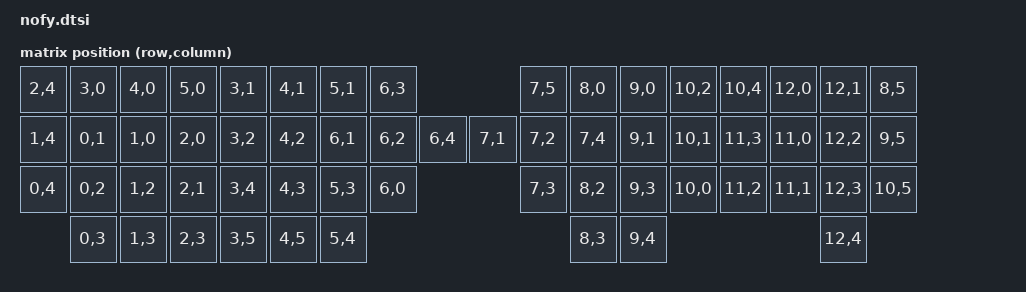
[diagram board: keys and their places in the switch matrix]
#include <dt-bindings/zmk/matrix_transform.h>
#include <dt-bindings/zmk/input_transform.h>
#include <input/processors.dtsi>
#include <physical_layouts.dtsi>

/ {
    chosen {
        zmk,kscan = &kscan_0;
        zmk,physical-layout = &nofy_layout;
    };

    nofy_layout: nofy_layout {
        compatible = "zmk,physical-layout";
        display-name = "Default";
        transform = <&default_transform>;

        keys  //                     w   h    x    y     rot    rx    ry
            = <&key_physical_attrs 100 100  100  100       0     0     0>
            , <&key_physical_attrs 100 100  100  200       0     0     0>
            , <&key_physical_attrs 100 100  100  300       0     0     0>
            , <&key_physical_attrs 100 100    0    0       0     0     0>
            , <&key_physical_attrs 100 100  200  100       0     0     0>
            , <&key_physical_attrs 100 100  200  200       0     0     0>
            , <&key_physical_attrs 100 100  200  300       0     0     0>
            , <&key_physical_attrs 100 100    0  100       0     0     0>
            , <&key_physical_attrs 100 100  300  100       0     0     0>
            , <&key_physical_attrs 100 100  300  200       0     0     0>
            , <&key_physical_attrs 100 100  300  300       0     0     0>
            , <&key_physical_attrs 100 100    0  200       0     0     0>
            , <&key_physical_attrs 100 100  100    0       0     0     0>
            , <&key_physical_attrs 100 100  400    0       0     0     0>
            , <&key_physical_attrs 100 100  400  100       0     0     0>
            , <&key_physical_attrs 100 100  400  200       0     0     0>
            , <&key_physical_attrs 100 100  400  300       0     0     0>
            , <&key_physical_attrs 100 100  200    0       0     0     0>
            , <&key_physical_attrs 100 100  500    0       0     0     0>
            , <&key_physical_attrs 100 100  500  100       0     0     0>
            , <&key_physical_attrs 100 100  500  200       0     0     0>
            , <&key_physical_attrs 100 100  500  300       0     0     0>
            , <&key_physical_attrs 100 100  300    0       0     0     0>
            , <&key_physical_attrs 100 100  600    0       0     0     0>
            , <&key_physical_attrs 100 100  600  100       0     0     0>
            , <&key_physical_attrs 100 100  600  200       0     0     0>
            , <&key_physical_attrs 100 100  600  300       0     0     0>
            , <&key_physical_attrs 100 100  700  100       0     0     0>
            , <&key_physical_attrs 100 100  700  200       0     0     0>
            , <&key_physical_attrs 100 100  700  300       0     0     0>
            , <&key_physical_attrs 100 100 1300    0       0     0     0>
            , <&key_physical_attrs 100 100  800  100       0     0     0>
            , <&key_physical_attrs 100 100  800  200       0     0     0>
            , <&key_physical_attrs 100 100  800  300       0     0     0>
            , <&key_physical_attrs 100 100 1300  100       0     0     0>
            , <&key_physical_attrs 100 100  900    0       0     0     0>
            , <&key_physical_attrs 100 100  900  100       0     0     0>
            , <&key_physical_attrs 100 100  900  200       0     0     0>
            , <&key_physical_attrs 100 100 1300  200       0     0     0>
            , <&key_physical_attrs 100 100 1000    0       0     0     0>
            , <&key_physical_attrs 100 100 1000  100       0     0     0>
            , <&key_physical_attrs 100 100 1000  200       0     0     0>
            , <&key_physical_attrs 100 100  700    0       0     0     0>
            , <&key_physical_attrs 100 100 1100    0       0     0     0>
            , <&key_physical_attrs 100 100 1100  100       0     0     0>
            , <&key_physical_attrs 100 100 1100  200       0     0     0>
            , <&key_physical_attrs 100 100  800    0       0     0     0>
            , <&key_physical_attrs 100 100 1200    0       0     0     0>
            , <&key_physical_attrs 100 100 1200  100       0     0     0>
            , <&key_physical_attrs 100 100 1200  200       0     0     0>
            , <&key_physical_attrs 100 100 1200  300       0     0     0>
            ;
    };

    kscan_0: kscan_0 {
		compatible = "zmk,kscan-gpio-charlieplex";
	};

	default_transform: keymap_transform_0 {
		compatible = "zmk,matrix-transform";
		columns = <6>;
		rows = <13>;

        map = <
		RC(2,4)   RC(3,0)   RC(4,0)   RC(5,0)   RC(3,1)   RC(4,1)   RC(5,1)             RC(6,3)                              RC(7,5)             RC(8,0)   RC(9,0)   RC(10,2)   RC(10,4)  RC(12,0)  RC(12,1)  RC(8,5)
		RC(1,4)   RC(0,1)   RC(1,0)   RC(2,0)   RC(3,2)   RC(4,2)             RC(6,1)   RC(6,2)   RC(6,4)          RC(7,1)   RC(7,2)   RC(7,4)             RC(9,1)   RC(10,1)   RC(11,3)  RC(11,0)  RC(12,2)  RC(9,5)
		RC(0,4)   RC(0,2)   RC(1,2)   RC(2,1)   RC(3,4)   RC(4,3)   RC(5,3)             RC(6,0)                              RC(7,3)             RC(8,2)   RC(9,3)   RC(10,0)   RC(11,2)  RC(11,1)  RC(12,3)  RC(10,5)
		          RC(0,3)   RC(1,3)   RC(2,3)   RC(3,5)   RC(4,5)   RC(5,4)                                                                      RC(8,3)   RC(9,4)                                  RC(12,4)
		>;
	};

    trackball_central_listener: trackball_central_listener {
        compatible = "zmk,input-listener";
        status = "disabled";
        input-processors =
            <&zip_xy_transform INPUT_TRANSFORM_X_INVERT>,       //X軸反転
            <&zip_xy_transform INPUT_TRANSFORM_XY_SWAP>;        //X軸とY軸の入れ替え
            //<&zip_xy_transform INPUT_TRANSFORM_X_INVERT>,       //X軸反転
            //<&zip_temp_layer 5 500>;                            //オートマウスレイヤーの選択
    };

    left_encoder: encoder_left {
        compatible = "alps,ec11";
        steps = <60>;
        status = "disabled";
    };

    right_encoder: encoder_right {
        compatible = "alps,ec11";
        steps = <60>;
        status = "disabled";
    };

    sensors: sensors {
        compatible = "zmk,keymap-sensors";
        sensors = <&left_encoder &right_encoder>;
        triggers-per-rotation = <30>;
    };
};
